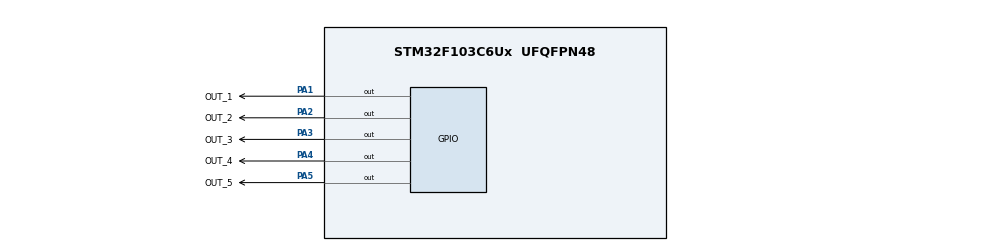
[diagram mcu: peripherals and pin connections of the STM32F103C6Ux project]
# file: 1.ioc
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Mcu.Family=STM32F1
Mcu.Name=STM32F103C6Ux
Mcu.Package=UFQFPN48
NVIC.PriorityGroup=NVIC_PRIORITYGROUP_4
NVIC.TIM2_IRQn=true\:0\:0\:false\:false\:true\:true\:true
PA1.GPIO_Label=OUT_1
PA1.Signal=GPIO_Output
PA2.GPIO_Label=OUT_2
PA2.Signal=GPIO_Output
PA3.GPIO_Label=OUT_3
PA3.Signal=GPIO_Output
PA4.GPIO_Label=OUT_4
PA4.Signal=GPIO_Output
PA5.GPIO_Label=OUT_5
PA5.Signal=GPIO_Output
ProjectManager.HeapSize=0x200
ProjectManager.StackSize=0x400
ProjectManager.TargetToolchain=STM32CubeIDE
RCC.APB1Freq_Value=8000000
RCC.APB2Freq_Value=8000000
TIM2.Period=7999
TIM2.Prescaler=9
VP_SYS_VS_ND.Mode=No_Debug
VP_TIM2_VS_ClockSourceINT.Mode=Internal
board=custom

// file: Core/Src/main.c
/* USER CODE BEGIN Header */
/**
  ******************************************************************************
  * @file           : main.c
  * @brief          : Main program body
  ******************************************************************************
  * @attention
  *
  * <h2><center>&copy; Copyright (c) 2024 STMicroelectronics.
  * All rights reserved.</center></h2>
  *
  * This software component is licensed by ST under BSD 3-Clause license,
  * the "License"; You may not use this file except in compliance with the
  * License. You may obtain a copy of the License at:
  *                        opensource.org/licenses/BSD-3-Clause
  *
  ******************************************************************************
  */
/* USER CODE END Header */
#include "main.h"

/* USER CODE BEGIN Includes */
#include "fsm.h"
/* USER CODE END Includes */

TIM_HandleTypeDef htim2;

void SystemClock_Config(void);
static void MX_GPIO_Init(void);
static void MX_TIM2_Init(void);

/* USER CODE BEGIN 0 */
int done_set_up = 0;
void Per_funct1(){
	HAL_GPIO_TogglePin(GPIOA, OUT_1_Pin);
	//HAL_GPIO_WritePin(GPIOA, OUT_1_Pin, SET);
}
void Per(){return;}
void Per_funct2(){
	HAL_GPIO_TogglePin(GPIOA, OUT_2_Pin);
}
void Per_funct3(){
	HAL_GPIO_TogglePin(GPIOA, OUT_3_Pin);
}
void Per_funct4(){
	HAL_GPIO_TogglePin(GPIOA, OUT_4_Pin);
}
void Per_funct5(){
	HAL_GPIO_TogglePin(GPIOA, OUT_5_Pin);
}
void HAL_TIM_PeriodElapsedCallback(TIM_HandleTypeDef *htim){
	if (done_set_up==0) return;
	SCH_Update();
	done_set_up=1;
}
/* USER CODE END 0 */

int main(void)
{

  /* MCU Configuration--------------------------------------------------------*/

  /* Reset of all peripherals, Initializes the Flash interface and the Systick. */
  HAL_Init();

  /* Configure the system clock */
  SystemClock_Config();

  /* Initialize all configured peripherals */
  MX_GPIO_Init();
  MX_TIM2_Init();
  /* USER CODE BEGIN 2 */
  HAL_TIM_Base_Start_IT (& htim2 );
  /* USER CODE END 2 */

  /* Infinite loop */
  /* USER CODE BEGIN WHILE */
  LL_init();
  SCH_Add_Task(Per_funct1,50,50);
  SCH_Add_Task(Per_funct2,100,100);
  SCH_Add_Task(Per_funct3,150,150);
  SCH_Add_Task(Per_funct4,200,200);
  SCH_Add_Task(Per_funct5,250,250);
  done_set_up=1;
  //void (*set)() = Per_funct1;
  while (1)
  {
	  //set();
	  if (done_set_up>=4) continue;
	  SCH_Dispatch_Tasks();
	  done_set_up++;
    /* USER CODE END WHILE */

  }
}

void SystemClock_Config(void)
{
  RCC_OscInitTypeDef RCC_OscInitStruct = {0};
  RCC_ClkInitTypeDef RCC_ClkInitStruct = {0};

  /** Initializes the RCC Oscillators according to the specified parameters
  * in the RCC_OscInitTypeDef structure.
  */
  RCC_OscInitStruct.OscillatorType = RCC_OSCILLATORTYPE_HSI;
  RCC_OscInitStruct.HSIState = RCC_HSI_ON;
  RCC_OscInitStruct.HSICalibrationValue = RCC_HSICALIBRATION_DEFAULT;
  RCC_OscInitStruct.PLL.PLLState = RCC_PLL_NONE;
  if (HAL_RCC_OscConfig(&RCC_OscInitStruct) != HAL_OK)
  {
    Error_Handler();
  }
  /** Initializes the CPU, AHB and APB buses clocks
  */
  RCC_ClkInitStruct.ClockType = RCC_CLOCKTYPE_HCLK|RCC_CLOCKTYPE_SYSCLK
                              |RCC_CLOCKTYPE_PCLK1|RCC_CLOCKTYPE_PCLK2;
  RCC_ClkInitStruct.SYSCLKSource = RCC_SYSCLKSOURCE_HSI;
  RCC_ClkInitStruct.AHBCLKDivider = RCC_SYSCLK_DIV1;
  RCC_ClkInitStruct.APB1CLKDivider = RCC_HCLK_DIV1;
  RCC_ClkInitStruct.APB2CLKDivider = RCC_HCLK_DIV1;

  if (HAL_RCC_ClockConfig(&RCC_ClkInitStruct, FLASH_LATENCY_0) != HAL_OK)
  {
    Error_Handler();
  }
}

static void MX_TIM2_Init(void)
{

  TIM_ClockConfigTypeDef sClockSourceConfig = {0};
  TIM_MasterConfigTypeDef sMasterConfig = {0};

  htim2.Instance = TIM2;
  htim2.Init.Prescaler = 9;
  htim2.Init.CounterMode = TIM_COUNTERMODE_UP;
  htim2.Init.Period = 7999;
  htim2.Init.ClockDivision = TIM_CLOCKDIVISION_DIV1;
  htim2.Init.AutoReloadPreload = TIM_AUTORELOAD_PRELOAD_DISABLE;
  if (HAL_TIM_Base_Init(&htim2) != HAL_OK)
  {
    Error_Handler();
  }
  sClockSourceConfig.ClockSource = TIM_CLOCKSOURCE_INTERNAL;
  if (HAL_TIM_ConfigClockSource(&htim2, &sClockSourceConfig) != HAL_OK)
  {
    Error_Handler();
  }
  sMasterConfig.MasterOutputTrigger = TIM_TRGO_RESET;
  sMasterConfig.MasterSlaveMode = TIM_MASTERSLAVEMODE_DISABLE;
  if (HAL_TIMEx_MasterConfigSynchronization(&htim2, &sMasterConfig) != HAL_OK)
  {
    Error_Handler();
  }

}

static void MX_GPIO_Init(void)
{
  GPIO_InitTypeDef GPIO_InitStruct = {0};

  /* GPIO Ports Clock Enable */
  __HAL_RCC_GPIOA_CLK_ENABLE();

  /*Configure GPIO pin Output Level */
  HAL_GPIO_WritePin(GPIOA, OUT_1_Pin|OUT_2_Pin|OUT_3_Pin|OUT_4_Pin
                          |OUT_5_Pin, GPIO_PIN_RESET);

  /*Configure GPIO pins : OUT_1_Pin OUT_2_Pin OUT_3_Pin OUT_4_Pin
                           OUT_5_Pin */
  GPIO_InitStruct.Pin = OUT_1_Pin|OUT_2_Pin|OUT_3_Pin|OUT_4_Pin
                          |OUT_5_Pin;
  GPIO_InitStruct.Mode = GPIO_MODE_OUTPUT_PP;
  GPIO_InitStruct.Pull = GPIO_NOPULL;
  GPIO_InitStruct.Speed = GPIO_SPEED_FREQ_LOW;
  HAL_GPIO_Init(GPIOA, &GPIO_InitStruct);

}

void Error_Handler(void)
{
  __disable_irq();
  while (1)
  {
  }
}

/************************ (C) COPYRIGHT STMicroelectronics *****END OF FILE****/
